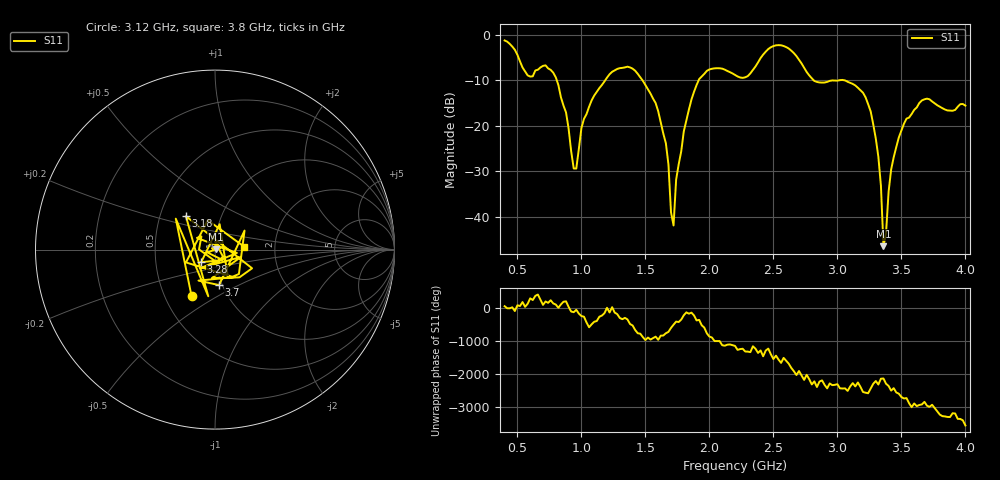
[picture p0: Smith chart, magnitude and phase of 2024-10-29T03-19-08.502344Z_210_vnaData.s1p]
!Created with skrf (http://scikit-rf.org).
# Hz S RI R 50.0
!freq ReS11 ImS11
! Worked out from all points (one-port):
!   181 points, 400 MHz to 4 GHz, reference 50 ohm
!   lowest |S11| = -46.5 dB at 3.36 GHz (marker M1), VSWR 1.01, Z = 50.4 + j0.182 ohm
!   |S11| at or under -10 dB: 807.9 MHz to 1.185 GHz (377.5 MHz wide, 37.9 % of centre); 1.478 GHz to 1.916 GHz (437.6 MHz wide, 25.8 % of centre); 3.058 GHz to end of sweep (the widest 3 of 4)
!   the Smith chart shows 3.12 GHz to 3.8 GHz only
!   S11 on the Smith chart (normalised r, x): 3.12 GHz: 0.68, -0.38; 3.18 GHz: 0.68, +0.27; 3.28 GHz: 0.85, -0.12; 3.7 GHz: 0.97, -0.40; 3.8 GHz: 1.38, +0.05
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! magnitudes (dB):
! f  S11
! 400 MHz  -1.2
! 580 MHz  -8.9
! 760 MHz  -7.7
! 860 MHz  -15.5
! 960 MHz  -29.4
! 1 GHz  -20.5
! 1.08 GHz  -14.4
! 1.3 GHz  -7.3
! 1.58 GHz  -15.0
! 1.66 GHz  -23.8
! 1.72 GHz  -41.9
! 1.74 GHz  -31.9
! 1.76 GHz  -28.5
! 1.92 GHz  -9.7
! 2.2 GHz  -8.8
! 2.66 GHz  -4.0
! 2.82 GHz  -10.1
! 3.1 GHz  -10.5
! 3.12 GHz  -10.8
! 3.18 GHz  -12.2
! 3.28 GHz  -19.7
! 3.34 GHz  -33.2
! 3.36 GHz  -46.5
! 3.42 GHz  -29.6
! 3.56 GHz  -18.2
! 3.7 GHz  -14.0
! 3.8 GHz  -15.8
! 4 GHz  -15.6
